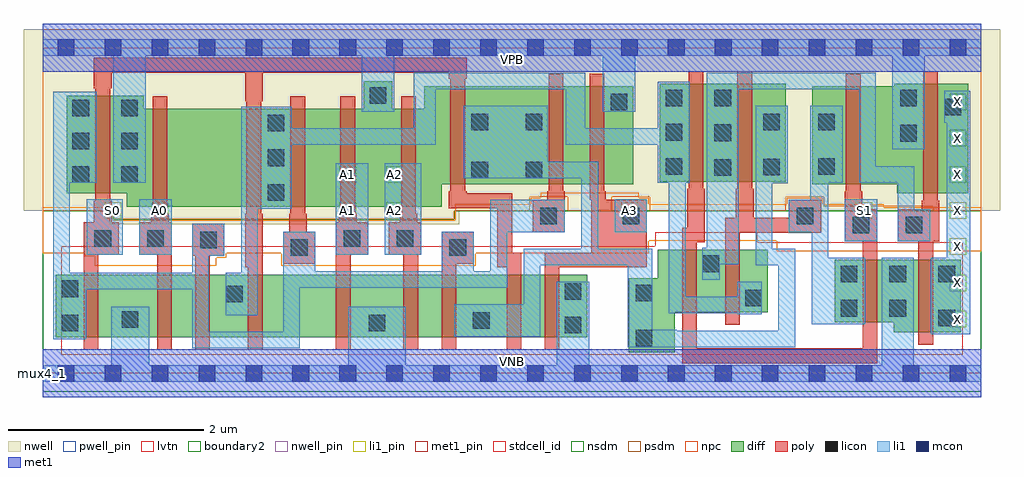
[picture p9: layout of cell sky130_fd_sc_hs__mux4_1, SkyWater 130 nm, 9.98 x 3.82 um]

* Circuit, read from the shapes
.subckt sky130_fd_sc_hs__mux4_1 A0 A1 A2 A3 S0 S1 VGND VNB VPB VPWR X
XM1 VGND S0 n1 VNB sky130_fd_pr__nfet_01v8_lvt w=0.64 l=0.15
XM2 n2 A0 VGND VNB sky130_fd_pr__nfet_01v8_lvt w=0.64 l=0.15
XM3 n3 n1 n2 VNB sky130_fd_pr__nfet_01v8_lvt w=0.64 l=0.15
XM4 n4 S0 n3 VNB sky130_fd_pr__nfet_01v8_lvt w=0.64 l=0.15
XM5 VGND A1 n4 VNB sky130_fd_pr__nfet_01v8_lvt w=0.64 l=0.15
XM6 n5 A2 VGND VNB sky130_fd_pr__nfet_01v8_lvt w=0.64 l=0.15
XM7 n6 n1 n5 VNB sky130_fd_pr__nfet_01v8_lvt w=0.64 l=0.15
XM8 n7 S0 n6 VNB sky130_fd_pr__nfet_01v8_lvt w=0.64 l=0.15
XM9 VGND A3 n7 VNB sky130_fd_pr__nfet_01v8_lvt w=0.64 l=0.15
XM10 n8 S1 n6 VNB sky130_fd_pr__nfet_01v8_lvt w=0.64 l=0.15
XM11 n3 n9 n8 VNB sky130_fd_pr__nfet_01v8_lvt w=0.64 l=0.15
XM12 VGND S1 n9 VNB sky130_fd_pr__nfet_01v8_lvt w=0.64 l=0.15
XM13 X n8 VGND VNB sky130_fd_pr__nfet_01v8_lvt w=0.74 l=0.15
XM14 VPWR S0 n1 VPB sky130_fd_pr__pfet_01v8 w=1 l=0.15
XM15 n10 A0 VPWR VPB sky130_fd_pr__pfet_01v8 w=1 l=0.15
XM16 n3 S0 n10 VPB sky130_fd_pr__pfet_01v8 w=1 l=0.15
XM17 n11 n1 n3 VPB sky130_fd_pr__pfet_01v8 w=1 l=0.15
XM18 VPWR A1 n11 VPB sky130_fd_pr__pfet_01v8 w=1 l=0.15
XM19 n12 A2 VPWR VPB sky130_fd_pr__pfet_01v8 w=1 l=0.15
XM20 n6 S0 n12 VPB sky130_fd_pr__pfet_01v8 w=1 l=0.15
XM21 n13 n1 n6 VPB sky130_fd_pr__pfet_01v8 w=1 l=0.15
XM22 VPWR A3 n13 VPB sky130_fd_pr__pfet_01v8 w=1 l=0.15
XM23 n8 S1 n3 VPB sky130_fd_pr__pfet_01v8 w=1 l=0.15
XM24 n6 n9 n8 VPB sky130_fd_pr__pfet_01v8 w=1 l=0.15
XM25 VPWR S1 n9 VPB sky130_fd_pr__pfet_01v8 w=1 l=0.15
XM26 X n8 VPWR VPB sky130_fd_pr__pfet_01v8 w=1.12 l=0.15
.ends

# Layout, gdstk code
import gdstk
lib = gdstk.Library(unit=1e-6, precision=1e-09)
def R(c, l, rs):  # rectangles x0, y0, x1, y1
    for r in rs: c.add(gdstk.rectangle(r[:2], r[2:], *l))
def A(c, l, x, y, w, h, nx, ny, dx, dy):  # array of equal rectangles
    R(c, l, [(x+i*dx, y+j*dy, x+i*dx+w, y+j*dy+h) for i in range(nx) for j in range(ny)])
def P(c, l, *ps):  # polygons
    for p in ps: c.add(gdstk.Polygon(p, *l))
nwell_pin = (64, 16)
nwell = (64, 20)
diff = (65, 20)
poly = (66, 20)
licon = (66, 44)
li1_pin = (67, 16)
li1 = (67, 20)
mcon = (67, 44)
met1_pin = (68, 16)
met1 = (68, 20)
stdcell_id = (81, 4)
nsdm = (93, 44)
psdm = (94, 20)
npc = (95, 20)
pwell_pin = (122, 16)
lvtn = (125, 44)
boundary2 = (236, 0)

sky130_fd_sc_hs__mux4_1 = lib.new_cell('sky130_fd_sc_hs__mux4_1')
R(sky130_fd_sc_hs__mux4_1, nwell_pin, [(0,3.085,9.6,3.33)])
P(sky130_fd_sc_hs__mux4_1, nwell, [(9.79,3.52),(-0.19,3.52),(-0.19,1.66),(0.68,1.66),(0.68,1.525),(4.26,1.525),(4.26,1.66),(9.79,1.66)])
R(sky130_fd_sc_hs__mux4_1, diff, [(0.135,0.37,5.57,1.01), (6.31,1.96,7.6,2.96)])
P(sky130_fd_sc_hs__mux4_1, diff, [(6.04,2.935),(3.905,2.935),(3.905,2.705),(3.575,2.705),(3.575,2.985),(3.285,2.985),(3.285,2.705),(1.035,2.705),(1.035,2.84),(0.245,2.84),(0.245,1.84),(0.86,1.84),(0.86,1.705),(4.08,1.705),(4.08,1.935),(6.04,1.935)],
  [(7.415,1.265),(6.29,1.265),(6.29,0.97),(5.995,0.97),(5.995,0.215),(6.465,0.215),(6.465,0.625),(7.415,0.625)],
  [(9.39,1.16),(8.1,1.16),(8.1,0.52),(8.705,0.52),(8.705,0.42),(9.39,0.42)],
  [(9.465,2.96),(8.71,2.96),(8.71,2.935),(7.87,2.935),(7.87,1.935),(8.74,1.935),(8.74,1.84),(9.465,1.84)])
P(sky130_fd_sc_hs__mux4_1, poly, [(9.17,1.765),(9.155,1.765),(9.155,3.09),(9.005,3.09),(9.005,1.765),(8.99,1.765),(8.99,1.68),(8.745,1.68),(8.745,1.35),(8.955,1.35),(8.955,0.29),(9.105,0.29),(9.105,1.35),(9.17,1.35)],
  [(8.535,1.68),(8.38,1.68),(8.38,1.86),(8.365,1.86),(8.365,3.065),(8.215,3.065),(8.215,1.86),(8.2,1.86),(8.2,1.68),(8.205,1.68),(8.205,1.35),(8.385,1.35),(8.385,0.255),(6.69,0.255),(6.69,1.34),(6.77,1.34),(6.77,1.885),(6.755,1.885),(6.755,3.09),(6.605,3.09),(6.605,1.885),(6.59,1.885),(6.59,1.49),(6.54,1.49),(6.54,0.105),(8.535,0.105)],
  [(7.96,1.775),(7.63,1.775),(7.63,1.59),(7.27,1.59),(7.27,1.885),(7.255,1.885),(7.255,3.09),(7.105,3.09),(7.105,1.885),(7.09,1.885),(7.09,1.59),(6.98,1.59),(6.98,0.495),(7.13,0.495),(7.13,1.44),(7.96,1.44)],
  [(6.18,1.775),(5.76,1.775),(5.76,1.86),(5.745,1.86),(5.745,3.065),(5.595,3.065),(5.595,1.775),(5.61,1.775),(5.61,1.235),(5.135,1.235),(5.135,0.24),(5.285,0.24),(5.285,1.085),(6.18,1.085)],
  [(5.34,1.86),(5.325,1.86),(5.325,3.065),(5.175,3.065),(5.175,1.86),(5.16,1.86),(5.16,1.775),(5.01,1.775),(5.01,1.445),(5.34,1.445)],
  [(4.895,1.235),(4.8,1.235),(4.8,1.84),(4.335,1.84),(4.335,1.86),(4.32,1.86),(4.32,3.01),(4.335,3.01),(4.335,3.225),(0.525,3.225),(0.525,2.915),(0.54,2.915),(0.54,1.765),(0.525,1.765),(0.525,1.545),(0.42,1.545),(0.42,0.24),(0.57,0.24),(0.57,1.215),(0.78,1.215),(0.78,1.545),(0.705,1.545),(0.705,1.765),(0.69,1.765),(0.69,2.915),(0.705,2.915),(0.705,3.075),(2.07,3.075),(2.07,2.78),(2.085,2.78),(2.085,1.63),(2.07,1.63),(2.07,1.085),(2.1,1.085),(2.1,0.24),(2.25,0.24),(2.25,1.63),(2.235,1.63),(2.235,2.78),(2.25,2.78),(2.25,3.075),(4.155,3.075),(4.155,3.01),(4.17,3.01),(4.17,1.86),(4.155,1.86),(4.155,1.69),(4.65,1.69),(4.65,1.085),(4.745,1.085),(4.745,0.24),(4.895,0.24)],
  [(4.41,1.45),(4.08,1.45),(4.08,0.24),(4.23,0.24),(4.23,1.12),(4.41,1.12)],
  [(3.87,1.545),(3.83,1.545),(3.83,1.63),(3.815,1.63),(3.815,2.835),(3.665,2.835),(3.665,1.63),(3.65,1.63),(3.65,1.545),(3.54,1.545),(3.54,1.215),(3.69,1.215),(3.69,0.24),(3.84,0.24),(3.84,1.215),(3.87,1.215)],
  [(3.33,1.545),(3.21,1.545),(3.21,1.63),(3.195,1.63),(3.195,2.835),(3.045,2.835),(3.045,1.63),(3.03,1.63),(3.03,1.545),(3,1.545),(3,0.24),(3.15,0.24),(3.15,1.215),(3.33,1.215)],
  [(2.79,1.45),(2.7,1.45),(2.7,1.63),(2.685,1.63),(2.685,2.835),(2.535,2.835),(2.535,1.63),(2.52,1.63),(2.52,1.45),(2.46,1.45),(2.46,1.12),(2.79,1.12)],
  [(1.86,1.53),(1.53,1.53),(1.53,1.2),(1.56,1.2),(1.56,0.24),(1.71,0.24),(1.71,1.2),(1.86,1.2)],
  [(1.32,1.545),(1.29,1.545),(1.29,1.63),(1.275,1.63),(1.275,2.835),(1.125,2.835),(1.125,1.63),(1.11,1.63),(1.11,1.545),(0.99,1.545),(0.99,1.215),(1.17,1.215),(1.17,0.24),(1.32,0.24)])
A(sky130_fd_sc_hs__mux4_1, licon, 8.16, 0.93, 0.17, 0.17, 3, 1, 0.5, 0)
A(sky130_fd_sc_hs__mux4_1, licon, 2.3, 1.765, 0.17, 0.17, 1, 3, 0, 0.355)
A(sky130_fd_sc_hs__mux4_1, licon, 0.305, 1.95, 0.17, 0.17, 1, 3, 0, 0.34)
A(sky130_fd_sc_hs__mux4_1, licon, 0.805, 1.95, 0.17, 0.17, 1, 3, 0, 0.34)
A(sky130_fd_sc_hs__mux4_1, licon, 6.87, 2.02, 0.17, 0.17, 1, 3, 0, 0.355)
A(sky130_fd_sc_hs__mux4_1, licon, 6.37, 2.03, 0.17, 0.17, 1, 3, 0, 0.35)
R(sky130_fd_sc_hs__mux4_1, licon, [(6.065,0.275,6.235,0.445), (5.34,0.41,5.51,0.58), (0.195,0.43,0.365,0.6), (3.335,0.43,3.505,0.6), (4.4,0.455,4.57,0.625), (0.81,0.465,0.98,0.635), (9.16,0.48,9.33,0.65), (8.16,0.58,8.33,0.75), (8.66,0.58,8.83,0.75), (7.185,0.685,7.355,0.855), (1.875,0.725,2.045,0.895), (6.065,0.735,6.235,0.905), (5.34,0.75,5.51,0.92), (0.195,0.78,0.365,0.95), (6.75,1.035,6.92,1.205), (2.54,1.2,2.71,1.37), (4.16,1.2,4.33,1.37), (1.61,1.28,1.78,1.45), (0.53,1.295,0.7,1.465), (1.07,1.295,1.24,1.465), (3.08,1.295,3.25,1.465), (3.62,1.295,3.79,1.465), (8.285,1.43,8.455,1.6), (8.825,1.43,8.995,1.6), (5.09,1.525,5.26,1.695), (5.93,1.525,6.1,1.695), (7.71,1.525,7.88,1.695), (4.385,1.995,4.555,2.165), (4.94,1.995,5.11,2.165), (7.37,2.025,7.54,2.195), (7.93,2.03,8.1,2.2), (8.77,2.37,8.94,2.54), (4.385,2.485,4.555,2.655), (4.94,2.485,5.11,2.655), (7.37,2.485,7.54,2.655), (7.93,2.485,8.1,2.655), (9.225,2.64,9.395,2.81), (5.81,2.69,5.98,2.86), (8.77,2.73,8.94,2.9), (3.345,2.755,3.515,2.925)])
A(sky130_fd_sc_hs__mux4_1, li1_pin, 9.275, 0.47, 0.17, 0.17, 1, 7, 0, 0.37)
A(sky130_fd_sc_hs__mux4_1, li1_pin, 3.515, 1.58, 0.17, 0.17, 3, 1, 2.4, 0)
R(sky130_fd_sc_hs__mux4_1, li1_pin, [(0.635,1.58,0.805,1.75), (1.115,1.58,1.285,1.75), (3.035,1.58,3.205,1.75), (3.035,1.95,3.205,2.12), (3.515,1.95,3.685,2.12)])
R(sky130_fd_sc_hs__mux4_1, li1, [(0.45,1.215,0.82,1.78), (0.99,1.215,1.32,1.78), (3,1.215,3.33,2.15), (3.5,1.215,3.87,2.15), (8.205,1.35,8.535,1.78), (5.85,1.445,6.18,1.78)])
P(sky130_fd_sc_hs__mux4_1, li1, [(5.73,2.675),(5.73,3.245),(3.595,3.245),(3.595,2.675),(3.265,2.675),(3.265,3.245),(1.055,3.245),(1.055,1.95),(0.725,1.95),(0.725,3.245),(0,3.245),(0,3.415),(9.6,3.415),(9.6,3.245),(9.02,3.245),(9.02,2.29),(8.69,2.29),(8.69,3.245),(6.06,3.245),(6.06,2.675)],
  [(5.26,0.085),(5.26,0.935),(5.59,0.935),(5.59,0.085),(8.58,0.085),(8.58,1.18),(8.91,1.18),(8.91,0.085),(9.6,0.085),(9.6,-0.085),(0,-0.085),(0,0.085),(0.7,0.085),(0.7,0.68),(1.09,0.68),(1.09,0.085),(3.125,0.085),(3.125,0.68),(3.715,0.68),(3.715,0.085)],
  [(9.22,2.56),(9.22,2.89),(9.485,2.89),(9.485,0.4),(9.08,0.4),(9.08,1.18),(9.245,1.18),(9.245,2.56)],
  [(7.865,1.445),(7.63,1.445),(7.63,1.775),(7.85,1.775),(7.85,2.735),(8.18,2.735),(8.18,1.95),(8.035,1.95),(8.035,1.18),(8.41,1.18),(8.41,0.5),(7.865,0.5)],
  [(7.695,1.275),(7.46,1.275),(7.46,1.945),(7.62,1.945),(7.62,2.735),(7.29,2.735),(7.29,1.105),(7.525,1.105),(7.525,0.435),(6.485,0.435),(6.485,0.445),(6.235,0.445),(6.235,1.275),(5.68,1.275),(5.68,2.165),(5.165,2.165),(5.165,2.735),(4.305,2.735),(4.305,1.995),(5.51,1.995),(5.51,1.275),(4.92,1.275),(4.92,0.705),(4.21,0.705),(4.21,0.375),(5.09,0.375),(5.09,1.105),(5.985,1.105),(5.985,0.265),(7.695,0.265)],
  [(7.355,0.935),(7.105,0.935),(7.105,0.785),(6.575,0.785),(6.575,1.95),(6.62,1.95),(6.62,2.98),(6.29,2.98),(6.29,2.505),(5.55,2.505),(5.55,3.075),(3.795,3.075),(3.795,2.505),(2.55,2.505),(2.55,2.725),(2.03,2.725),(2.03,1.03),(1.875,1.03),(1.875,0.595),(2.2,0.595),(2.2,1.685),(2.55,1.685),(2.55,2.335),(4.02,2.335),(4.02,2.905),(5.35,2.905),(5.35,2.335),(6.29,2.335),(6.29,1.95),(6.405,1.95),(6.405,0.615),(7.105,0.615),(7.105,0.605),(7.355,0.605)],
  [(2.79,1.045),(4.08,1.045),(4.08,1.45),(4.41,1.45),(4.41,1.045),(4.58,1.045),(4.58,1.775),(5.34,1.775),(5.34,1.445),(4.75,1.445),(4.75,0.875),(2.63,0.875),(2.63,0.255),(1.53,0.255),(1.53,0.86),(0.445,0.86),(0.445,0.35),(0.11,0.35),(0.11,2.88),(0.555,2.88),(0.555,1.95),(0.28,1.95),(0.28,1.03),(1.53,1.03),(1.53,1.53),(1.86,1.53),(1.86,1.2),(1.7,1.2),(1.7,0.425),(2.46,0.425),(2.46,1.45),(2.79,1.45)],
  [(6.79,3.075),(8.52,3.075),(8.52,2.12),(8.915,2.12),(8.915,1.68),(9.075,1.68),(9.075,1.35),(8.745,1.35),(8.745,1.95),(8.35,1.95),(8.35,2.905),(7.12,2.905),(7.12,1.115),(6.925,1.115),(6.925,0.955),(6.745,0.955),(6.745,1.285),(6.79,1.285)])
A(sky130_fd_sc_hs__mux4_1, mcon, 0.155, -0.085, 0.17, 0.17, 20, 2, 0.48, 3.33)
R(sky130_fd_sc_hs__mux4_1, met1_pin, [(0,0,9.6,0.245), (0,3.085,9.6,3.33)])
R(sky130_fd_sc_hs__mux4_1, met1, [(0,-0.245,9.6,0.245), (0,3.085,9.6,3.575)])
R(sky130_fd_sc_hs__mux4_1, stdcell_id, [(0,0,9.6,3.33)])
P(sky130_fd_sc_hs__mux4_1, nsdm, [(9.6,1.66),(4.21,1.66),(4.21,1.575),(0.73,1.575),(0.73,1.66),(0,1.66),(0,-0.19),(9.6,-0.19)])
P(sky130_fd_sc_hs__mux4_1, psdm, [(9.6,3.52),(0,3.52),(0,1.66),(0.73,1.66),(0.73,1.575),(4.21,1.575),(4.21,1.66),(4.98,1.66),(4.98,1.805),(5.37,1.805),(5.37,1.66),(5.82,1.66),(5.82,1.805),(6.21,1.805),(6.21,1.66),(7.6,1.66),(7.6,1.805),(7.99,1.805),(7.99,1.71),(9.105,1.71),(9.105,1.66),(9.6,1.66)])
P(sky130_fd_sc_hs__mux4_1, npc, [(9.6,1.7),(8.6,1.7),(8.6,1.73),(7.98,1.73),(7.98,1.795),(7.61,1.795),(7.61,1.73),(6.2,1.73),(6.2,1.795),(6.095,1.795),(6.095,1.845),(5.095,1.845),(5.095,1.795),(4.99,1.795),(4.99,1.73),(4.22,1.73),(4.22,1.565),(0.72,1.565),(0.72,1.7),(0,1.7),(0,1.23),(0.43,1.23),(0.43,1.195),(0.535,1.195),(0.535,1.1),(1.775,1.1),(1.775,1.18),(1.88,1.18),(1.88,1.23),(2.44,1.23),(2.44,1.1),(4.43,1.1),(4.43,1.23),(6.2,1.23),(6.2,1.355),(7.505,1.355),(7.505,1.25),(9.6,1.25)])
R(sky130_fd_sc_hs__mux4_1, pwell_pin, [(0,0,9.6,0.245)])
P(sky130_fd_sc_hs__mux4_1, lvtn, [(9.41,1.34),(7.31,1.34),(7.31,1.445),(6.265,1.445),(6.265,1.3),(0.19,1.3),(0.19,0.19),(9.41,0.19)])
R(sky130_fd_sc_hs__mux4_1, boundary2, [(0,0,9.6,3.33)])
sky130_fd_sc_hs__mux4_1.add(gdstk.Label('mux4_1', (0,0), layer=83, texttype=44))
sky130_fd_sc_hs__mux4_1.add(gdstk.Label('VNB', (4.8,0.123), layer=64, texttype=59))
sky130_fd_sc_hs__mux4_1.add(gdstk.Label('VPB', (4.8,3.208), layer=64, texttype=5))
sky130_fd_sc_hs__mux4_1.add(gdstk.Label('VPWR', (4.8,3.208), layer=68, texttype=5))
sky130_fd_sc_hs__mux4_1.add(gdstk.Label('VGND', (4.8,0.123), layer=68, texttype=5))
sky130_fd_sc_hs__mux4_1.add(gdstk.Label('S0', (0.72,1.665), layer=67, texttype=5))
sky130_fd_sc_hs__mux4_1.add(gdstk.Label('A3', (6,1.665), layer=67, texttype=5))
sky130_fd_sc_hs__mux4_1.add(gdstk.Label('A2', (3.6,1.665), layer=67, texttype=5))
sky130_fd_sc_hs__mux4_1.add(gdstk.Label('A2', (3.6,2.035), layer=67, texttype=5))
sky130_fd_sc_hs__mux4_1.add(gdstk.Label('A1', (3.12,1.665), layer=67, texttype=5))
sky130_fd_sc_hs__mux4_1.add(gdstk.Label('A1', (3.12,2.035), layer=67, texttype=5))
sky130_fd_sc_hs__mux4_1.add(gdstk.Label('A0', (1.2,1.665), layer=67, texttype=5))
sky130_fd_sc_hs__mux4_1.add(gdstk.Label('S1', (8.4,1.665), layer=67, texttype=5))
sky130_fd_sc_hs__mux4_1.add(gdstk.Label('X', (9.36,0.555), layer=67, texttype=5))
sky130_fd_sc_hs__mux4_1.add(gdstk.Label('X', (9.36,0.925), layer=67, texttype=5))
sky130_fd_sc_hs__mux4_1.add(gdstk.Label('X', (9.36,1.295), layer=67, texttype=5))
sky130_fd_sc_hs__mux4_1.add(gdstk.Label('X', (9.36,1.665), layer=67, texttype=5))
sky130_fd_sc_hs__mux4_1.add(gdstk.Label('X', (9.36,2.035), layer=67, texttype=5))
sky130_fd_sc_hs__mux4_1.add(gdstk.Label('X', (9.36,2.405), layer=67, texttype=5))
sky130_fd_sc_hs__mux4_1.add(gdstk.Label('X', (9.36,2.775), layer=67, texttype=5))

lib.write_gds('sky130_fd_sc_hs__mux4_1.gds')
